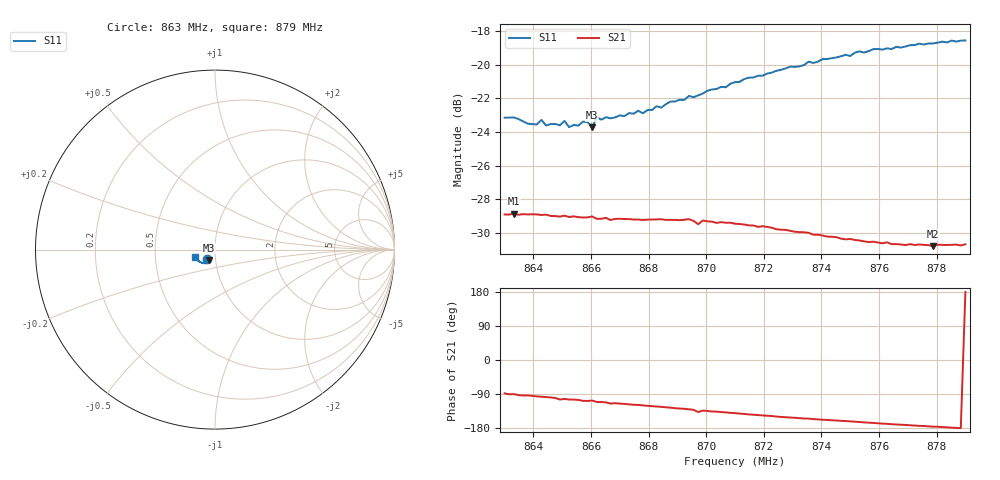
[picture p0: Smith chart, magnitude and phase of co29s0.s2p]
# HZ S RI R 50
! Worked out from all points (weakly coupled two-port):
!   101 points, 863 MHz to 879 MHz, reference 50 ohm
!   highest |S21| = -28.86 dB at 863.32 MHz (marker M1); lowest = -30.8 dB at 877.88 MHz (marker M2)
!   lowest |S11| = -23.7 dB at 866.04 MHz (marker M3), VSWR 1.14, Z = 46.7 - j5.34 ohm
!   |S11| at or under -10 dB: start of sweep to end of sweep
!   S12 and S22 are empty: the file has one direction only
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8.63e8  -0.0439 -0.0539  0.00112 -0.0358  0 0  0 0
8.6332e8  -0.0422 -0.0554  6.5e-05 -0.0361  0 0  0 0
8.6396e8  -0.0389 -0.054  -0.00283 -0.0358  0 0  0 0
8.6428e8  -0.0389 -0.0564  -0.00429 -0.0354  0 0  0 0
8.6444e8  -0.0386 -0.0534  -0.00482 -0.0355  0 0  0 0
8.6492e8  -0.0368 -0.0548  -0.00876 -0.0342  0 0  0 0
8.6508e8  -0.0389 -0.0558  -0.0078 -0.0347  0 0  0 0
8.6524e8  -0.0352 -0.0549  -0.00882 -0.0341  0 0  0 0
8.6572e8  -0.0347 -0.0581  -0.0108 -0.0334  0 0  0 0
8.6604e8  -0.0315 -0.057  -0.0103 -0.0338  0 0  0 0
8.662e8  -0.0359 -0.0599  -0.0123 -0.0325  0 0  0 0
8.6636e8  -0.0353 -0.0588  -0.0124 -0.0325  0 0  0 0
8.6844e8  -0.035 -0.0658  -0.0192 -0.0289  0 0  0 0
8.6876e8  -0.0373 -0.0681  -0.0202 -0.028  0 0  0 0
8.694e8  -0.0402 -0.07  -0.0224 -0.0265  0 0  0 0
8.6972e8  -0.0402 -0.0703  -0.0247 -0.0227  0 0  0 0
8.71e8  -0.0479 -0.0747  -0.0258 -0.0215  0 0  0 0
8.7372e8  -0.0688 -0.0742  -0.0285 -0.0127  0 0  0 0
8.7532e8  -0.0843 -0.0699  -0.0288 -0.0084  0 0  0 0
8.7644e8  -0.0924 -0.062  -0.0288 -0.0053  0 0  0 0
8.7788e8  -0.1044 -0.0496  -0.0288 -0.00208  0 0  0 0
8.79e8  -0.1114 -0.0388  -0.0292 0.000333  0 0  0 0
